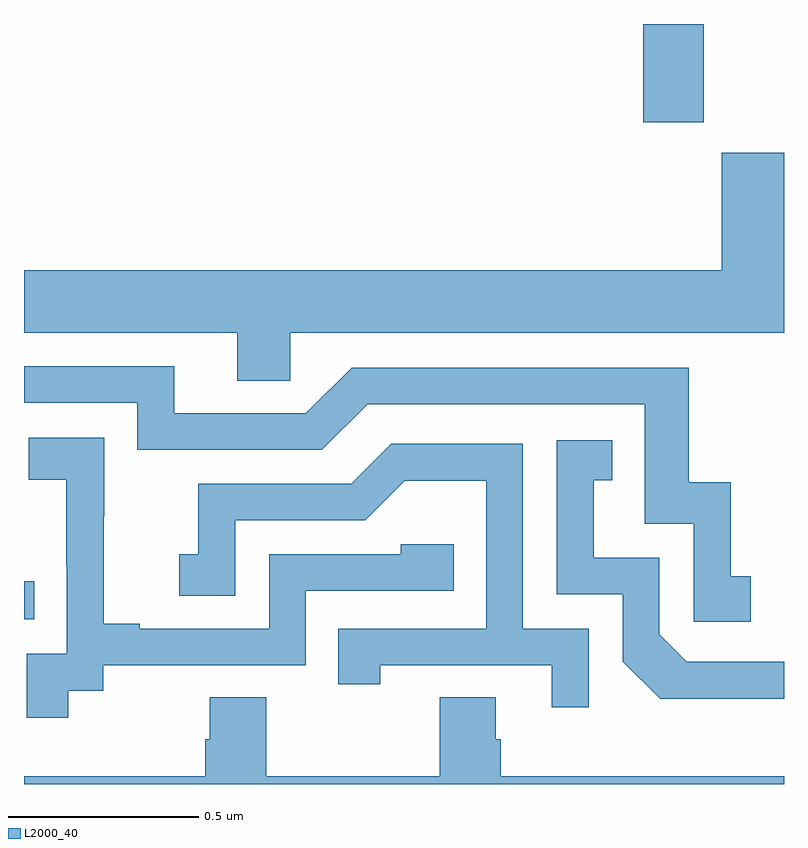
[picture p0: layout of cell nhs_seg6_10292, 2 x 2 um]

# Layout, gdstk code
import gdstk
lib = gdstk.Library(unit=1e-6, precision=1e-09)
def R(c, l, rs):  # rectangles x0, y0, x1, y1
    for r in rs: c.add(gdstk.rectangle(r[:2], r[2:], *l))
def P(c, l, *ps):  # polygons
    for p in ps: c.add(gdstk.Polygon(p, *l))
L2000_40 = (2000, 40)

nhs_seg6_10292 = lib.new_cell('nhs_seg6_10292')
R(nhs_seg6_10292, L2000_40, [(245,927.933,245.027,928.034), (246.629,929.241,246.789,929.5)])
P(nhs_seg6_10292, L2000_40, [(245.7,928.688),(247,928.688),(247,929.161),(246.836,929.161),(246.836,928.852),(245,928.852),(245,928.688),(245.561,928.688),(245.561,928.561),(245.7,928.561)],
  [(246.913,928.047),(246.86,928.047),(246.86,928.294),(246.749,928.294),(246.749,928.596),(245.862,928.596),(245.742,928.476),(245.395,928.476),(245.395,928.599),(245,928.599),(245,928.503),(245.298,928.503),(245.298,928.38),(245.784,928.38),(245.904,928.5),(246.633,928.5),(246.633,928.185),(246.762,928.185),(246.762,927.927),(246.913,927.927)],
  [(245.116,927.745),(245.208,927.745),(245.208,927.813),(245.742,927.813),(245.742,928.008),(246.131,928.008),(246.131,928.131),(245.991,928.131),(245.991,928.104),(245.646,928.104),(245.646,927.909),(245.305,927.909),(245.305,927.922),(245.21,927.922),(245.21,928.205),(245.211,928.205),(245.211,928.411),(245.013,928.411),(245.013,928.301),(245.111,928.301),(245.111,928.073),(245.112,928.073),(245.112,927.843),(245.007,927.843),(245.007,927.675),(245.116,927.675)],
  [(247,927.822),(246.744,927.822),(246.672,927.894),(246.672,928.095),(246.499,928.095),(246.499,928.299),(246.548,928.299),(246.548,928.405),(246.402,928.405),(246.402,927.999),(246.576,927.999),(246.576,927.822),(246.674,927.725),(247,927.725)],
  [(246.486,927.909),(246.312,927.909),(246.312,928.395),(245.966,928.395),(245.861,928.29),(245.458,928.29),(245.458,928.105),(245.409,928.105),(245.409,927.996),(245.556,927.996),(245.556,928.194),(245.898,928.194),(246.002,928.298),(246.216,928.298),(246.216,927.909),(245.827,927.909),(245.827,927.762),(245.938,927.762),(245.938,927.813),(246.389,927.813),(246.389,927.702),(246.486,927.702)],
  [(247,927.52),(246.254,927.52),(246.254,927.618),(246.241,927.618),(246.241,927.728),(246.094,927.728),(246.094,927.52),(245.637,927.52),(245.637,927.728),(245.489,927.728),(245.489,927.618),(245.477,927.618),(245.477,927.52),(245,927.52),(245,927.5),(247,927.5)])

lib.write_gds('nhs_seg6_10292.gds')
